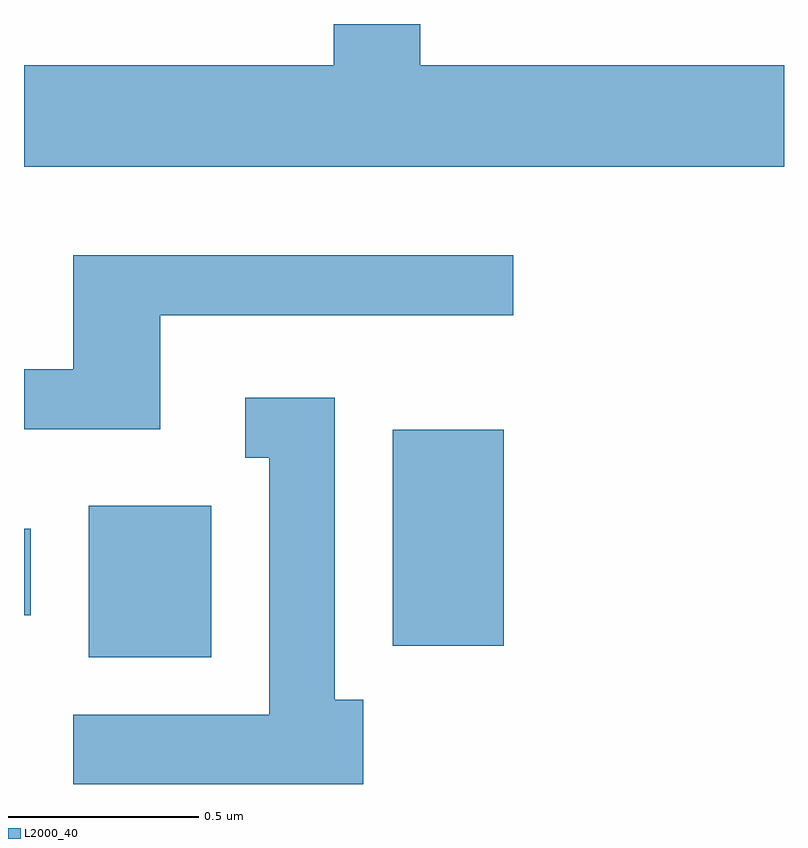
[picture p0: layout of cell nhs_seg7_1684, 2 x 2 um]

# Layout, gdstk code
import gdstk
lib = gdstk.Library(unit=1e-6, precision=1e-09)
def R(c, l, rs):  # rectangles x0, y0, x1, y1
    for r in rs: c.add(gdstk.rectangle(r[:2], r[2:], *l))
def P(c, l, *ps):  # polygons
    for p in ps: c.add(gdstk.Polygon(p, *l))
L2000_40 = (2000, 40)

nhs_seg7_1684 = lib.new_cell('nhs_seg7_1684')
R(nhs_seg7_1684, L2000_40, [(197.781,1708.586,198.104,1708.984), (198.581,1708.616,198.874,1709.184), (197.611,1708.696,197.629,1708.924)])
P(nhs_seg7_1684, L2000_40, [(199.611,1710.144),(198.654,1710.144),(198.654,1710.252),(198.426,1710.252),(198.426,1710.144),(197.611,1710.144),(197.611,1709.876),(199.611,1709.876)],
  [(197.969,1709.486),(198.898,1709.486),(198.898,1709.644),(197.741,1709.644),(197.741,1709.344),(197.611,1709.344),(197.611,1709.186),(197.969,1709.186)],
  [(198.504,1708.474),(198.429,1708.474),(198.429,1709.269),(198.193,1709.269),(198.193,1709.111),(198.256,1709.111),(198.256,1708.434),(197.741,1708.434),(197.741,1708.252),(198.504,1708.252)])

lib.write_gds('nhs_seg7_1684.gds')
